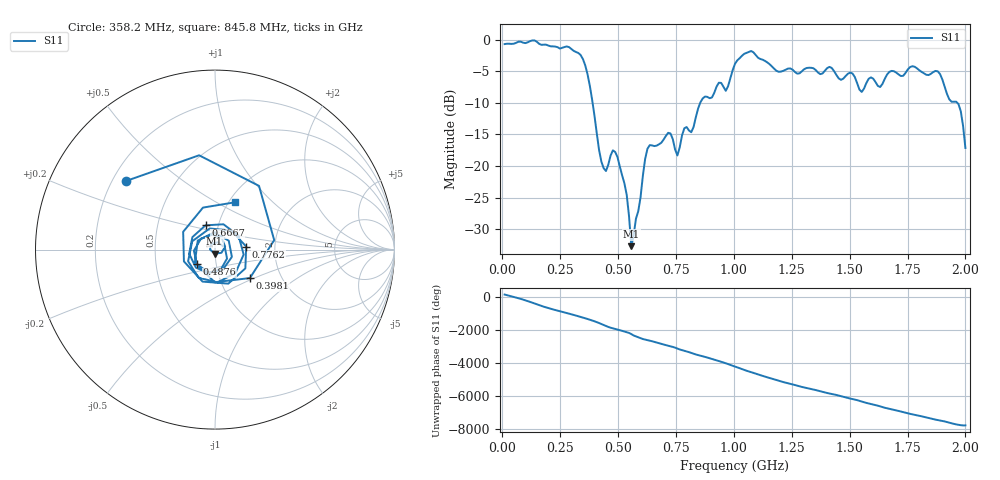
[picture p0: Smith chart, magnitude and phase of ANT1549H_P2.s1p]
!Created with skrf (http://scikit-rf.org).
# Hz S RI R 50.0
!freq ReS11 ImS11
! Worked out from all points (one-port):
!   201 points, 10 MHz to 2 GHz, reference 50 ohm
!   lowest |S11| = -32.7 dB at 557.2 MHz (marker M1), VSWR 1.05, Z = 49.7 - j2.29 ohm
!   |S11| at or under -10 dB: 390 MHz to 854.7 MHz (464.7 MHz wide, 74.7 % of centre); 1.965 GHz to end of sweep
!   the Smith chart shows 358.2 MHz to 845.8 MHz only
!   S11 on the Smith chart (normalised r, x): 358.2 MHz: 0.25, +0.32; 398.1 MHz: 1.39, -0.47; 487.6 MHz: 0.81, -0.13; 666.7 MHz: 0.87, +0.24; 776.1 MHz: 1.42, +0.05; 845.8 MHz: 1.07, +0.61
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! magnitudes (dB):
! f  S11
! 10 MHz  -0.7
! 258.8 MHz  -1.3
! 358.2 MHz  -4.1
! 398.1 MHz  -12.0
! 437.9 MHz  -20.4
! 487.6 MHz  -17.8
! 507.5 MHz  -20.1
! 537.4 MHz  -24.6
! 557.2 MHz  -32.7
! 626.9 MHz  -17.3
! 666.7 MHz  -16.8
! 726.4 MHz  -14.8
! 756.2 MHz  -18.3
! 776.1 MHz  -15.2
! 816 MHz  -14.6
! 845.8 MHz  -10.9
! 935.4 MHz  -6.8
! 965.2 MHz  -8.1
! 1.005 GHz  -3.8
! 1.075 GHz  -1.8
! 1.254 GHz  -4.7
! 1.502 GHz  -5.2
! 1.552 GHz  -8.3
! 1.751 GHz  -4.7
! 1.891 GHz  -5.4
! 1.93 GHz  -9.4
! 1.97 GHz  -10.2
! 2 GHz  -17.1
